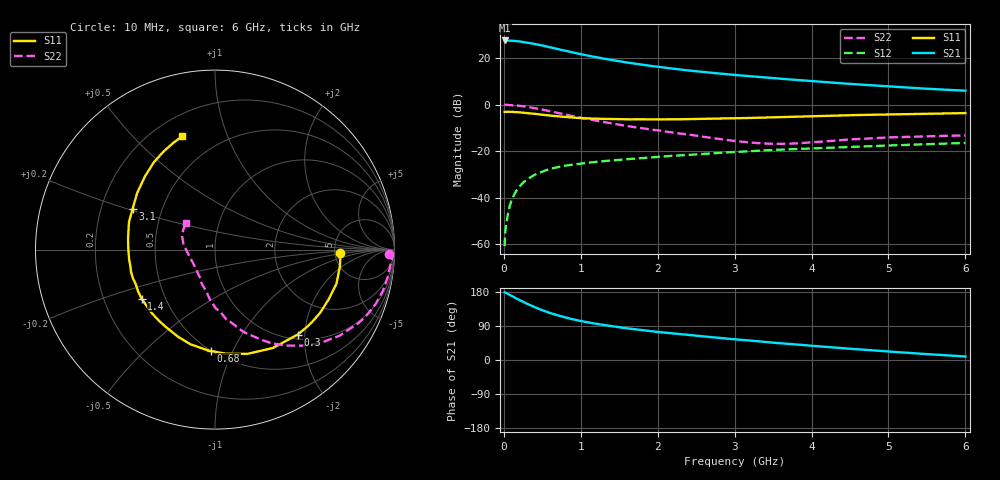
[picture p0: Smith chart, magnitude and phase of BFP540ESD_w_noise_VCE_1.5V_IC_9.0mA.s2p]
! Infineon Technologies  Discrete & RF Semiconductors
! BFP540ESD
! VCE =  1.5 V,  IC =  9.0 mA
! Common Emitter S-Parameters:  Nov 2015
# GHz  S  MA  R  50
!  f  S11  S21  S12  S22
! GHz  MAG  ANG  MAG  ANG  MAG  ANG  MAG  ANG
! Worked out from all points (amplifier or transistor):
!   210 points, 10 MHz to 6 GHz, reference 50 ohm
!   highest |S21| = 27.6 dB at 10 MHz (marker M1)
!   |S21| within 3 dB of that: start of sweep to 606.8 MHz
!   unconditionally stable (mu >= 1): 2.831 GHz to end of sweep
!   at 185 MHz: K = 0.09, MSG = 31.6 dB, |S12| = -36.0 dB
!   at 1.52 GHz: K = 0.70, MSG = 21.1 dB, |S12| = -23.7 dB
!   at 6 GHz: K = 1.16, MAG = 8.8 dB, |S12| = -16.5 dB
!   lowest NFmin = 0.83 dB at 900 MHz
!   S11 on the Smith chart (normalised r, x): 10 MHz: 5.61, -0.37; 300 MHz: 1.09, -1.84; 680 MHz: 0.50, -0.83; 1.4 GHz: 0.37, -0.27; 3.1 GHz: 0.34, +0.21; 6 GHz: 0.32, +0.70
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0.01  0.6984 -1.4  24.06 178.7  0.0009 95.4  0.9722 -1.5
0.055  0.7017 -8.7  23.88 174.0  0.0046 86.0  0.9813 -5.0
0.1  0.7028 -15.8  23.81 169.2  0.0087 85.4  0.9737 -9.3
0.15  0.691 -23.7  23.46 163.8  0.0129 79.6  0.9633 -13.8
0.24  0.6745 -36.9  22.46 154.4  0.0201 75.1  0.9287 -21.9
0.3  0.6604 -45.8  21.74 148.5  0.0242 70.7  0.8996 -26.9
0.4  0.6361 -59.5  20.23 139.4  0.0309 66.6  0.8434 -34.7
0.5  0.6084 -72.7  18.77 131.1  0.0363 61.3  0.7821 -41.9
0.6  0.5833 -84.1  17.13 123.9  0.0416 57.8  0.7213 -47.9
0.68  0.5653 -92.1  16.03 119.1  0.0444 55.0  0.6766 -52.2
0.8  0.5448 -104.6  14.42 112.1  0.0487 52.0  0.6117 -58.7
0.9  0.5278 -112.8  13.24 107.2  0.0512 50.0  0.5647 -62.8
1.02  0.5112 -122.2  12 102.1  0.0545 47.8  0.5143 -67.5
1.2  0.4991 -134.9  10.47 95.4  0.0586 45.1  0.4518 -73.8
1.4  0.4915 -146.2  9.148 89.2  0.063 43.5  0.3944 -80.8
1.7  0.4845 -161.1  7.627 81.0  0.0688 41.4  0.3285 -89.1
2.02  0.4815 -173.7  6.461 73.6  0.0756 39.9  0.2769 -96.2
2.58  0.4938 167.9  5.062 62.4  0.0868 36.9  0.2046 -111.0
3.1  0.5124 153.6  4.221 53.0  0.0976 34.1  0.1588 -128.3
4.1  0.5696 131.9  3.122 36.0  0.116 27.4  0.1585 -177.8
5.1  0.621 116.3  2.417 21.0  0.1336 20.6  0.199 156.2
6  0.6576 106.0  1.995 9.2  0.1498 15.0  0.2183 138.0
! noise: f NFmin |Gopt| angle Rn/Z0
0.9  0.83  0.08  -128  0.11
1.8  1.03  0.14  -161  0.1
2.4  1.04  0.14  -156  0.1
3  1.16  0.21  -156  0.1
4  1.29  0.34  -115  0.15
5  1.48  0.45  -92  0.27
6  1.72  0.53  -95  0.5
